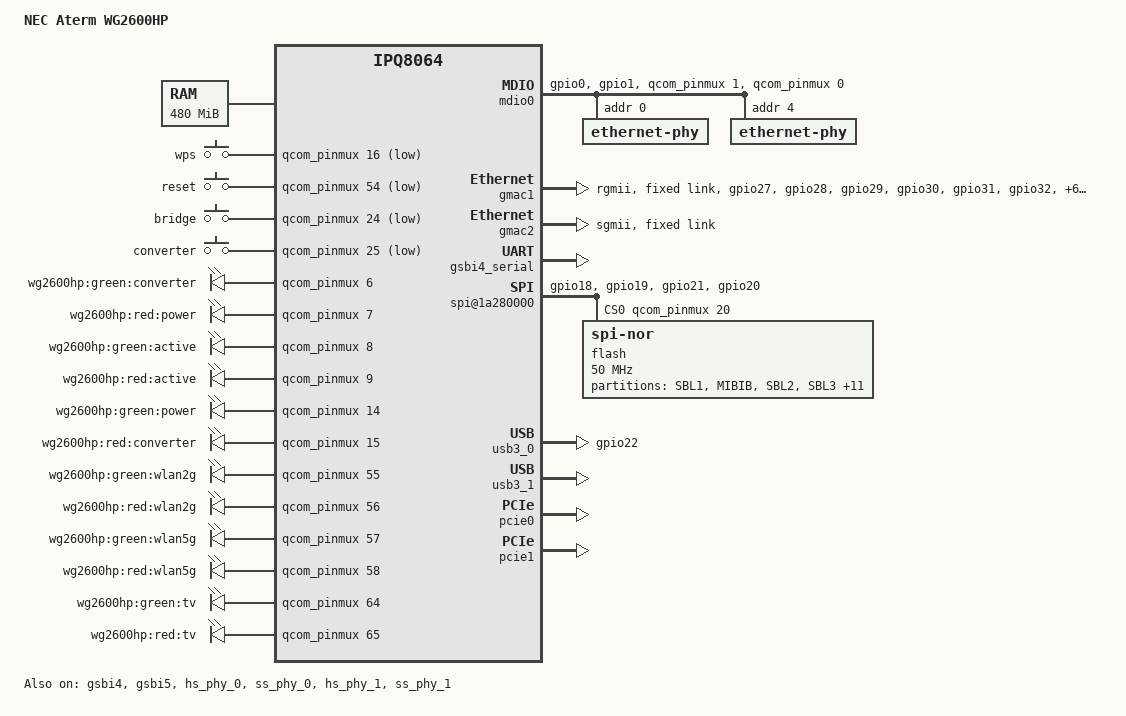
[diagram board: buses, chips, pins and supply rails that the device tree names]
#include "qcom-ipq8064-v2.0.dtsi"

#include <dt-bindings/input/input.h>

/ {
	model = "NEC Aterm WG2600HP";
	compatible = "nec,wg2600hp", "qcom,ipq8064";

	memory@0 {
		reg = <0x42000000 0x1e000000>;
		device_type = "memory";
	};

	reserved-memory {
		#address-cells = <1>;
		#size-cells = <1>;
		ranges;
		rsvd@41200000 {
			reg = <0x41200000 0x300000>;
			no-map;
		};
	};

	aliases {
		serial0 = &gsbi4_serial;
		mdio-gpio0 = &mdio0;

		led-boot = &power_green;
		led-failsafe = &power_red;
		led-running = &power_green;
		led-upgrade = &power_green;
	};

	chosen {
		stdout-path = "serial0:115200n8";
	};

	soc {
		mdio0: mdio {
			compatible = "virtual,mdio-gpio";
			#address-cells = <1>;
			#size-cells = <0>;
			gpios = <&qcom_pinmux 1 GPIO_ACTIVE_HIGH &qcom_pinmux 0 GPIO_ACTIVE_HIGH>;
			pinctrl-0 = <&mdio0_pins>;
			pinctrl-names = "default";

			ethernet-phy@0 {
				reg = <0>;
				qca,ar8327-initvals = <
					0x00004 0x06000000  /* PAD0_MODE */
					0x0000c 0x00080080  /* PAD6_MODE */
					0x000e4 0x0006a545  /* MAC_POWER_SEL */
					0x000e0 0xc74164de  /* SGMII_CTRL */
					0x0007c 0x0000004e  /* PORT0_STATUS */
					0x00094 0x0000004e  /* PORT6_STATUS */
					>;
			};

			ethernet-phy@4 {
				reg = <4>;
			};
		};
	};

	gpio-keys {
		compatible = "gpio-keys";
		pinctrl-0 = <&button_pins>;
		pinctrl-names = "default";

		wps {
			label = "wps";
			gpios = <&qcom_pinmux 16 GPIO_ACTIVE_LOW>;
			linux,code = <KEY_WPS_BUTTON>;
		};

		reset {
			label = "reset";
			gpios = <&qcom_pinmux 54 GPIO_ACTIVE_LOW>;
			linux,code = <KEY_RESTART>;
		};

		bridge {
			label = "bridge";
			gpios = <&qcom_pinmux 24 GPIO_ACTIVE_LOW>;
			linux,code = <BTN_0>;
			linux,input-type = <EV_SW>;
		};

		converter {
			label = "converter";
			gpios = <&qcom_pinmux 25 GPIO_ACTIVE_LOW>;
			linux,code = <BTN_0>;
			linux,input-type = <EV_SW>;
		};
	};

	gpio-leds {
		compatible = "gpio-leds";
		pinctrl-0 = <&led_pins>;
		pinctrl-names = "default";

		converter_green {
			label = "wg2600hp:green:converter";
			gpios = <&qcom_pinmux 6 GPIO_ACTIVE_HIGH>;
		};

		power_red: power_red {
			label = "wg2600hp:red:power";
			gpios = <&qcom_pinmux 7 GPIO_ACTIVE_HIGH>;
		};

		active_green {
			label = "wg2600hp:green:active";
			gpios = <&qcom_pinmux 8 GPIO_ACTIVE_HIGH>;
		};

		active_red {
			label = "wg2600hp:red:active";
			gpios = <&qcom_pinmux 9 GPIO_ACTIVE_HIGH>;
		};

		power_green: power_green {
			label = "wg2600hp:green:power";
			gpios = <&qcom_pinmux 14 GPIO_ACTIVE_HIGH>;
		};

		converter_red {
			label = "wg2600hp:red:converter";
			gpios = <&qcom_pinmux 15 GPIO_ACTIVE_HIGH>;
		};

		wlan2g_green {
			label = "wg2600hp:green:wlan2g";
			gpios = <&qcom_pinmux 55 GPIO_ACTIVE_HIGH>;
		};

		wlan2g_red {
			label = "wg2600hp:red:wlan2g";
			gpios = <&qcom_pinmux 56 GPIO_ACTIVE_HIGH>;
		};

		wlan5g_green {
			label = "wg2600hp:green:wlan5g";
			gpios = <&qcom_pinmux 57 GPIO_ACTIVE_HIGH>;
		};

		wlan5g_red {
			label = "wg2600hp:red:wlan5g";
			gpios = <&qcom_pinmux 58 GPIO_ACTIVE_HIGH>;
		};

		tv_green {
			label = "wg2600hp:green:tv";
			gpios = <&qcom_pinmux 64 GPIO_ACTIVE_HIGH>;
		};

		tv_red {
			label = "wg2600hp:red:tv";
			gpios = <&qcom_pinmux 65 GPIO_ACTIVE_HIGH>;
		};
	};
};

&adm_dma {
	status = "okay";
};

&gmac1 {
	status = "okay";

	phy-mode = "rgmii";
	qcom,id = <1>;

	pinctrl-0 = <&rgmii2_pins>;
	pinctrl-names = "default";

	mtd-mac-address = <&PRODUCTDATA 6>;

	fixed-link {
		speed = <1000>;
		full-duplex;
	};
};

&gmac2 {
	status = "okay";

	phy-mode = "sgmii";
	qcom,id = <2>;

	mtd-mac-address = <&PRODUCTDATA 0>;

	fixed-link {
		speed = <1000>;
		full-duplex;
	};
};

&gsbi4 {
	status = "okay";
	qcom,mode = <GSBI_PROT_I2C_UART>;
};

&gsbi4_serial {
	status = "okay";
};

&gsbi5 {
	status = "okay";

	qcom,mode = <GSBI_PROT_SPI>;

	spi@1a280000 {
		status = "okay";

		pinctrl-0 = <&spi_pins>;
		pinctrl-names = "default";

		cs-gpios = <&qcom_pinmux 20 GPIO_ACTIVE_HIGH>;

		flash@0 {
			compatible = "jedec,spi-nor";
			spi-max-frequency = <50000000>;
			reg = <0>;

			partitions {
				compatible = "fixed-partitions";
				#address-cells = <1>;
				#size-cells = <1>;

				SBL1@0 {
					label = "SBL1";
					reg = <0x0 0x20000>;
					read-only;
				};

				MIBIB@20000 {
					label = "MIBIB";
					reg = <0x20000 0x20000>;
					read-only;
				};

				SBL2@40000 {
					label = "SBL2";
					reg = <0x40000 0x40000>;
					read-only;
				};

				SBL3@80000 {
					label = "SBL3";
					reg = <0x80000 0x80000>;
					read-only;
				};

				DDRCONFIG@100000 {
					label = "DDRCONFIG";
					reg = <0x100000 0x10000>;
					read-only;
				};

				SSD@110000 {
					label = "SSD";
					reg = <0x110000 0x10000>;
					read-only;
				};

				TZ@120000 {
					label = "TZ";
					reg = <0x120000 0x80000>;
					read-only;
				};

				RPM@1a0000 {
					label = "RPM";
					reg = <0x1a0000 0x80000>;
					read-only;
				};

				APPSBL@220000 {
					label = "APPSBL";
					reg = <0x220000 0x80000>;
					read-only;
				};

				APPSBLENV@2a0000 {
					label = "APPSBLENV";
					reg = <0x2a0000 0x10000>;
				};

				PRODUCTDATA: PRODUCTDATA@2b0000 {
					label = "PRODUCTDATA";
					reg = <0x2b0000 0x30000>;
					read-only;
				};

				ART@2e0000 {
					label = "ART";
					reg = <0x2e0000 0x40000>;
					read-only;
				};

				TP@320000 {
					label = "TP";
					reg = <0x320000 0x40000>;
					read-only;
				};

				TINY@360000 {
					label = "TINY";
					reg = <0x360000 0x500000>;
					read-only;
				};

				firmware@860000 {
					compatible = "denx,uimage";
					label = "firmware";
					reg = <0x860000 0x17a0000>;
				};
			};
		};
	};
};

&hs_phy_0 {		/* USB3 port 0 HS phy */
	status = "okay";
};

&ss_phy_0 {		/* USB3 port 0 SS phy */
	status = "okay";
};

&hs_phy_1 {		/* USB3 port 1 HS phy */
	status = "okay";
};

&ss_phy_1 {		/* USB3 port 1 SS phy */
	status = "okay";
};

&usb3_0 {
	status = "okay";

	pinctrl-0 = <&usb_pwr_en_pins>;
	pinctrl-names = "default";
};

&usb3_1 {
	status = "okay";
};

&pcie0 {
	status = "okay";
};

&pcie1 {
	status = "okay";
	force_gen1 = <1>;
};

&qcom_pinmux {
	button_pins: button_pins {
		mux {
			pins = "gpio16", "gpio54", "gpio24", "gpio25";
			function = "gpio";
			drive-strength = <2>;
			bias-pull-up;
		};
	};

	i2c4_pins: i2c4_pinmux {
		mux {
			pins = "gpio12", "gpio13";
			function = "gsbi4";
			drive-strength = <12>;
			bias-disable;
		};
	};

	led_pins: led_pins {
		mux {
			pins = "gpio6", "gpio7", "gpio8", "gpio9", "gpio14",
				"gpio15", "gpio55", "gpio56", "gpio57", "gpio58",
				"gpio64", "gpio65";
			function = "gpio";
			drive-strength = <2>;
			bias-pull-down;
		};
	};

	spi_pins: spi_pins {
		mux {
			pins = "gpio18", "gpio19", "gpio21";
			function = "gsbi5";
			bias-pull-down;
		};

		data {
			pins = "gpio18", "gpio19";
			drive-strength = <10>;
		};

		cs {
			pins = "gpio20";
			drive-strength = <10>;
			bias-pull-up;
		};

		clk {
			pins = "gpio21";
			drive-strength = <12>;
		};
	};

	mdio0_pins: mdio0_pins {
		mux {
			pins = "gpio0", "gpio1";
			function = "gpio";
			drive-strength = <8>;
			bias-disable;
		};
	};

	rgmii2_pins: rgmii2_pins {
		mux {
			pins = "gpio27", "gpio28", "gpio29", "gpio30", "gpio31", "gpio32",
			       "gpio51", "gpio52", "gpio59", "gpio60", "gpio61", "gpio62" ;
			function = "rgmii2";
			drive-strength = <8>;
			bias-disable;
		};
	};

	usb_pwr_en_pins: usb_pwr_en_pins {
		mux {
			pins = "gpio22";
			function = "gpio";
			drive-strength = <2>;
			bias-pull-down;
			output-high;
		};
	};
};
